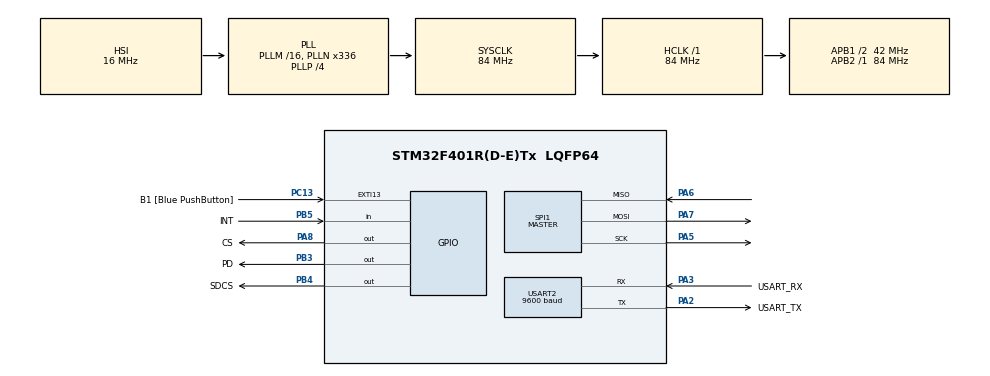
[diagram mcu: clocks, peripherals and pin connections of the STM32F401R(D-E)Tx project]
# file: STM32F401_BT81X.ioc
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FATFS._CODE_PAGE=932
FATFS._LFN_UNICODE=0
FATFS._USE_LFN=1
Mcu.Family=STM32F4
Mcu.Name=STM32F401R(D-E)Tx
Mcu.Package=LQFP64
NVIC.PriorityGroup=NVIC_PRIORITYGROUP_0
PA13.GPIO_Label=TMS
PA13.Mode=Serial_Wire
PA13.Signal=SYS_JTMS-SWDIO
PA14.GPIO_Label=TCK
PA14.Mode=Serial_Wire
PA14.Signal=SYS_JTCK-SWCLK
PA2.GPIO_Label=USART_TX
PA2.GPIO_Mode=GPIO_MODE_AF_PP
PA2.GPIO_PuPd=GPIO_NOPULL
PA2.GPIO_Speed=GPIO_SPEED_FREQ_LOW
PA2.Mode=Asynchronous
PA2.Signal=USART2_TX
PA3.GPIO_Label=USART_RX
PA3.GPIO_Mode=GPIO_MODE_AF_PP
PA3.GPIO_PuPd=GPIO_NOPULL
PA3.GPIO_Speed=GPIO_SPEED_FREQ_LOW
PA3.Mode=Asynchronous
PA3.Signal=USART2_RX
PA5.Mode=Full_Duplex_Master
PA5.Signal=SPI1_SCK
PA6.Mode=Full_Duplex_Master
PA6.Signal=SPI1_MISO
PA7.Mode=Full_Duplex_Master
PA7.Signal=SPI1_MOSI
PA8.GPIO_Label=CS
PA8.GPIO_PuPd=GPIO_PULLUP
PA8.GPIO_Speed=GPIO_SPEED_FREQ_VERY_HIGH
PA8.PinState=GPIO_PIN_SET
PA8.Signal=GPIO_Output
PB3.GPIO_Label=PD
PB3.GPIO_PuPd=GPIO_PULLUP
PB3.GPIO_Speed=GPIO_SPEED_FREQ_VERY_HIGH
PB3.Signal=GPIO_Output
PB4.GPIO_Label=SDCS
PB4.GPIO_PuPd=GPIO_PULLUP
PB4.GPIO_Speed=GPIO_SPEED_FREQ_VERY_HIGH
PB4.PinState=GPIO_PIN_SET
PB4.Signal=GPIO_Output
PB5.GPIO_Label=INT
PB5.Signal=GPIO_Input
PC13-ANTI_TAMP.GPIO_Label=B1 [Blue PushButton]
PC13-ANTI_TAMP.GPIO_ModeDefaultEXTI=GPIO_MODE_IT_FALLING
PC13-ANTI_TAMP.GPIO_PuPd=GPIO_NOPULL
PC13-ANTI_TAMP.Signal=GPXTI13
PC14-OSC32_IN.Mode=LSE-External-Oscillator
PC14-OSC32_IN.Signal=RCC_OSC32_IN
PC15-OSC32_OUT.Mode=LSE-External-Oscillator
PC15-OSC32_OUT.Signal=RCC_OSC32_OUT
PH0\ -\ OSC_IN.Mode=HSE-External-Clock-Source
PH0\ -\ OSC_IN.Signal=RCC_OSC_IN
PH1\ -\ OSC_OUT.Mode=HSE-External-Clock-Source
PH1\ -\ OSC_OUT.Signal=RCC_OSC_OUT
ProjectManager.HeapSize=0x200
ProjectManager.StackSize=0x400
ProjectManager.TargetToolchain=SW4STM32
RCC.48MHZClocksFreq_Value=48000000
RCC.AHBFreq_Value=84000000
RCC.APB1CLKDivider=RCC_HCLK_DIV2
RCC.APB1Freq_Value=42000000
RCC.APB1TimFreq_Value=84000000
RCC.APB2Freq_Value=84000000
RCC.APB2TimFreq_Value=84000000
RCC.CortexFreq_Value=84000000
RCC.HCLKFreq_Value=84000000
RCC.HSE_VALUE=8000000
RCC.HSI_VALUE=16000000
RCC.PLLN=336
RCC.PLLP=RCC_PLLP_DIV4
RCC.PLLQ=7
RCC.SYSCLKFreq_VALUE=84000000
RCC.SYSCLKSource=RCC_SYSCLKSOURCE_PLLCLK
RCC.VCOOutputFreq_Value=336000000
SPI1.BaudRatePrescaler=SPI_BAUDRATEPRESCALER_16
SPI1.Direction=SPI_DIRECTION_2LINES
SPI1.Mode=SPI_MODE_MASTER
SPI1.VirtualType=VM_MASTER
USART2.BaudRate=9600
USART2.VirtualMode=VM_ASYNC
VP_FATFS_VS_Generic.Mode=User_defined
board=NUCLEO-F401RE

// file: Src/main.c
/* USER CODE BEGIN Header */
/**
  ******************************************************************************
  * @file           : main.c
  * @brief          : Main program body
  ******************************************************************************
  ** This notice applies to any and all portions of this file
  * that are not between comment pairs USER CODE BEGIN and
  * USER CODE END. Other portions of this file, whether
  * inserted by the user or by software development tools
  * are owned by their respective copyright owners.
  *
  * COPYRIGHT(c) 2019 STMicroelectronics
  *
  * Redistribution and use in source and binary forms, with or without modification,
  * are permitted provided that the following conditions are met:
  *   1. Redistributions of source code must retain the above copyright notice,
  *      this list of conditions and the following disclaimer.
  *   2. Redistributions in binary form must reproduce the above copyright notice,
  *      this list of conditions and the following disclaimer in the documentation
  *      and/or other materials provided with the distribution.
  *   3. Neither the name of STMicroelectronics nor the names of its contributors
  *      may be used to endorse or promote products derived from this software
  *      without specific prior written permission.
  *
  * THIS SOFTWARE IS PROVIDED BY THE COPYRIGHT HOLDERS AND CONTRIBUTORS "AS IS"
  * AND ANY EXPRESS OR IMPLIED WARRANTIES, INCLUDING, BUT NOT LIMITED TO, THE
  * IMPLIED WARRANTIES OF MERCHANTABILITY AND FITNESS FOR A PARTICULAR PURPOSE ARE
  * DISCLAIMED. IN NO EVENT SHALL THE COPYRIGHT HOLDER OR CONTRIBUTORS BE LIABLE
  * FOR ANY DIRECT, INDIRECT, INCIDENTAL, SPECIAL, EXEMPLARY, OR CONSEQUENTIAL
  * DAMAGES (INCLUDING, BUT NOT LIMITED TO, PROCUREMENT OF SUBSTITUTE GOODS OR
  * SERVICES; LOSS OF USE, DATA, OR PROFITS; OR BUSINESS INTERRUPTION) HOWEVER
  * CAUSED AND ON ANY THEORY OF LIABILITY, WHETHER IN CONTRACT, STRICT LIABILITY,
  * OR TORT (INCLUDING NEGLIGENCE OR OTHERWISE) ARISING IN ANY WAY OUT OF THE USE
  * OF THIS SOFTWARE, EVEN IF ADVISED OF THE POSSIBILITY OF SUCH DAMAGE.
  *
  ******************************************************************************
  */
/* USER CODE END Header */

#include "main.h"
#include "fatfs.h"
#include "spi.h"
#include "usart.h"
#include "gpio.h"

/* USER CODE BEGIN Includes */
#include "BT8XX.h"
#include "fatfs.h"
/* USER CODE END Includes */

void SystemClock_Config(void);

/* USER CODE BEGIN 0 */
int _write( int file, char *ptr, int len )
{
  HAL_UART_Transmit(&huart2,(uint8_t*) ptr, len, 1000);
  return len;
}
/* USER CODE END 0 */

int main(void)
{

  /* MCU Configuration--------------------------------------------------------*/

  /* Reset of all peripherals, Initializes the Flash interface and the Systick. */
  HAL_Init();

  /* Configure the system clock */
  SystemClock_Config();

  /* Initialize all configured peripherals */
  MX_GPIO_Init();
  MX_USART2_UART_Init();
  MX_SPI1_Init();
  MX_FATFS_Init();
  /* USER CODE BEGIN 2 */

  printf("Initialize Success!!\r\n");
  EveInit();

#ifdef ENABLE_SD
  if(f_mount(&fs, "", 0) != FR_OK)
	  printf("SD Mount ERR\n\r");
  HAL_Delay(10);
  if(f_open(&fp, "test.txt", FA_OPEN_ALWAYS | FA_READ | FA_WRITE) != FR_OK)
	  printf("SD Write ERR\n\r");
  HAL_Delay(10);
  f_puts("SD Card Test\n", &fp);
  HAL_Delay(10);
  if(f_close(&fp) != FR_OK)
	  printf("SD File Close ERR\n\r");
  HAL_Delay(10);
  if(f_mount(NULL, "", 1) != FR_OK)
	  printf("SD Unmount ERR\n\r");
#endif

  /* USER CODE END 2 */

  /* Infinite loop */
  while (1)
  {

    /* USER CODE BEGIN 3 */

	  uint16_t cnt;
	  cnt=0;

	  while(CHIP_ID_RESET!=EveReadChipID()){
		  cnt++;
		  if(cnt>100){
			  printf("EVE NOT Found!! :0x%x  \r\n",EveReadChipID());
			  HAL_Delay(100);
			  break;
		  }
	  }
	  if(cnt<100)printf("EVE Found!!\r\n");

	  cnt=0;
	  while(0x0!=EveCheckStatus()){
		  cnt++;
		  if(cnt>100){
			  printf("EVE NOT Active!! :%d  \r\n",EveCheckStatus());
			  HAL_Delay(200);
		  }
	  }
	  if(cnt<100)printf("EVE Active!!\r\n");

	  EveSetCPUFrq();

	  EveSetResolution();
	  //EveCheckFlashState();
	  //EveFlashTest();

	  EveDemo();
//	  EveDemo2();
//	  EveDemo3();
	  while(1){

	  }

  }
  /* USER CODE END 3 */
}

void SystemClock_Config(void)
{
  RCC_OscInitTypeDef RCC_OscInitStruct = {0};
  RCC_ClkInitTypeDef RCC_ClkInitStruct = {0};

  /** Configure the main internal regulator output voltage
  */
  __HAL_RCC_PWR_CLK_ENABLE();
  __HAL_PWR_VOLTAGESCALING_CONFIG(PWR_REGULATOR_VOLTAGE_SCALE2);
  /** Initializes the CPU, AHB and APB busses clocks
  */
  RCC_OscInitStruct.OscillatorType = RCC_OSCILLATORTYPE_HSI;
  RCC_OscInitStruct.HSIState = RCC_HSI_ON;
  RCC_OscInitStruct.HSICalibrationValue = RCC_HSICALIBRATION_DEFAULT;
  RCC_OscInitStruct.PLL.PLLState = RCC_PLL_ON;
  RCC_OscInitStruct.PLL.PLLSource = RCC_PLLSOURCE_HSI;
  RCC_OscInitStruct.PLL.PLLM = 16;
  RCC_OscInitStruct.PLL.PLLN = 336;
  RCC_OscInitStruct.PLL.PLLP = RCC_PLLP_DIV4;
  RCC_OscInitStruct.PLL.PLLQ = 7;
  if (HAL_RCC_OscConfig(&RCC_OscInitStruct) != HAL_OK)
  {
    Error_Handler();
  }
  /** Initializes the CPU, AHB and APB busses clocks
  */
  RCC_ClkInitStruct.ClockType = RCC_CLOCKTYPE_HCLK|RCC_CLOCKTYPE_SYSCLK
                              |RCC_CLOCKTYPE_PCLK1|RCC_CLOCKTYPE_PCLK2;
  RCC_ClkInitStruct.SYSCLKSource = RCC_SYSCLKSOURCE_PLLCLK;
  RCC_ClkInitStruct.AHBCLKDivider = RCC_SYSCLK_DIV1;
  RCC_ClkInitStruct.APB1CLKDivider = RCC_HCLK_DIV2;
  RCC_ClkInitStruct.APB2CLKDivider = RCC_HCLK_DIV1;

  if (HAL_RCC_ClockConfig(&RCC_ClkInitStruct, FLASH_LATENCY_2) != HAL_OK)
  {
    Error_Handler();
  }
}

void Error_Handler(void)
{
}

/************************ (C) COPYRIGHT STMicroelectronics *****END OF FILE****/
